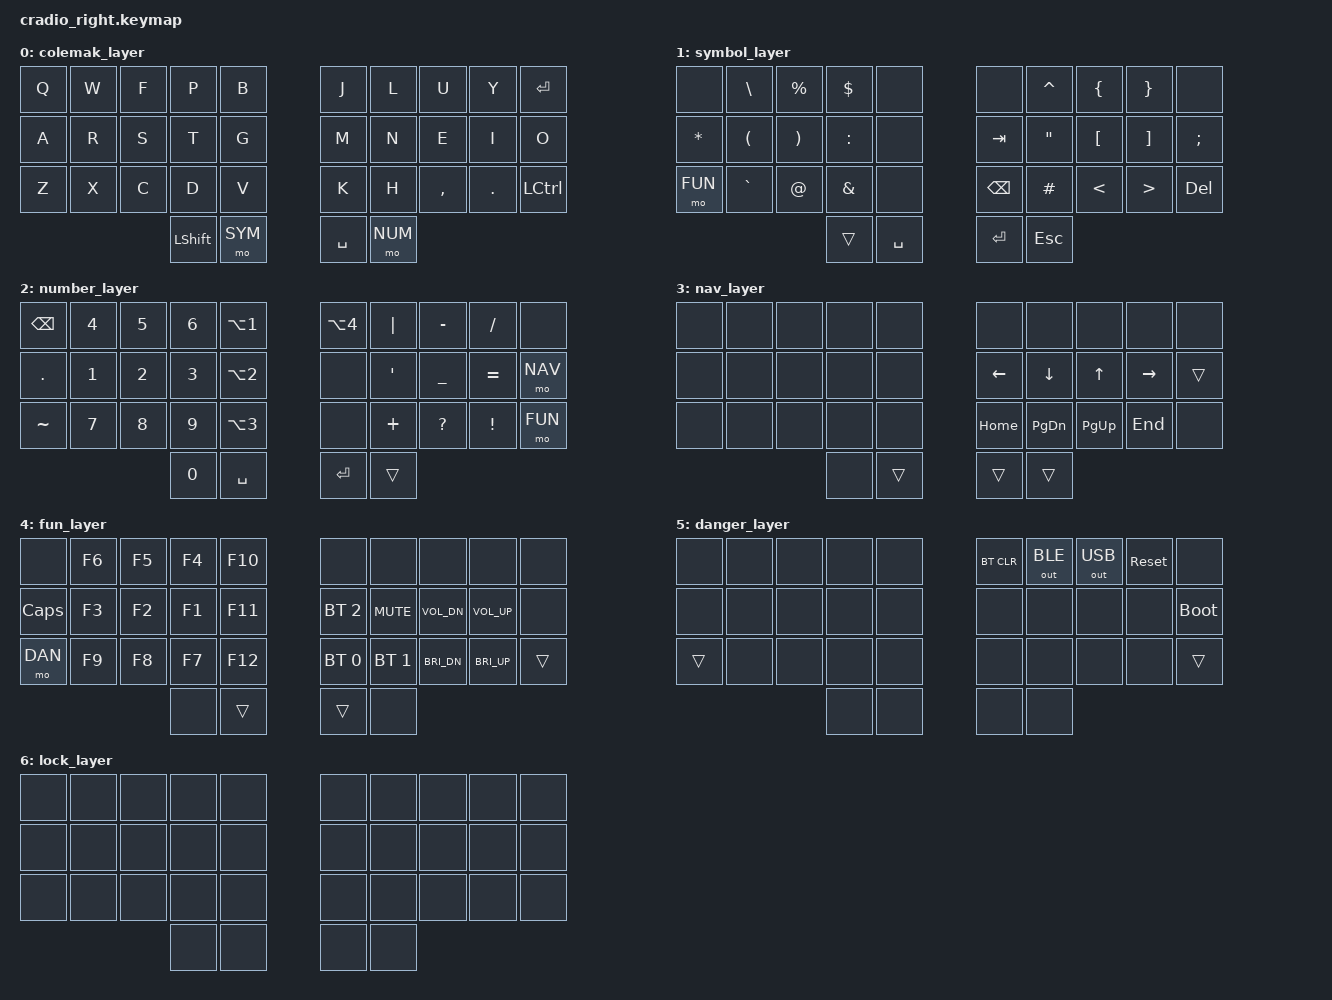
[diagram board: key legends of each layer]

/*
 * Copyright (c) 2020 The ZMK Contributors
 *
 * SSPDX-License-Identifier: MIT
 */

#include <behaviors.dtsi>
#include <dt-bindings/zmk/bt.h>
#include <dt-bindings/zmk/keys.h>
#include <dt-bindings/zmk/outputs.h>

#define CMK 0
#define SYM 1
#define NUM 2
#define NAV 3
#define FUN 4
#define DAN 5
#define LCK 6

&mt {
    flavor = "tap-preferred";
    tapping_term_ms = <285>;
};

&caps_word { continue-list = <UNDERSCORE MINUS BACKSPACE>; };

/ {
    combos {
        #include "combos.dtsi"
    };

    behaviors {
        hm: homerow_mods {
            compatible = "zmk,behavior-hold-tap";
            label = "HOMEROW_MODS";
            #binding-cells = <2>;
            tapping-term-ms = <200>;
            quick_tap_ms = <0>;
            flavor = "tap-preferred";
            bindings = <&kp>, <&kp>;
        };

        td: tapdance {
            compatible = "zmk,behavior-hold-tap";
            label = "TAPDANCE";
            #binding-cells = <2>;
            tapping-term-ms = <150>;
            quick_tap_ms = <0>;
            flavor = "tap-preferred";
            bindings = <&kp>, <&kp>;
        };

        skq: sticky_key_quick_release {
            compatible = "zmk,behavior-sticky-key";
            label = "STICKY_KEY_QUICK_RELEASE";
            #binding-cells = <1>;
            bindings = <&kp>;
            release-after-ms = <1000>;
            quick-release;
        };
    };
};




&kscan0 {
    
    input-gpios
    = <&pro_micro  7 (GPIO_ACTIVE_LOW | GPIO_PULL_UP)>
    , <&pro_micro 18 (GPIO_ACTIVE_LOW | GPIO_PULL_UP)>
    , <&gpio1      2 (GPIO_ACTIVE_LOW | GPIO_PULL_UP)>  
    , <&pro_micro 20 (GPIO_ACTIVE_LOW | GPIO_PULL_UP)>
    , <&pro_micro 21 (GPIO_ACTIVE_LOW | GPIO_PULL_UP)>
    , <&pro_micro 15 (GPIO_ACTIVE_LOW | GPIO_PULL_UP)>
    , <&pro_micro 14 (GPIO_ACTIVE_LOW | GPIO_PULL_UP)>
    , <&pro_micro 16 (GPIO_ACTIVE_LOW | GPIO_PULL_UP)>  
    , <&gpio1      7 (GPIO_ACTIVE_LOW | GPIO_PULL_UP)>
    , <&pro_micro  1 (GPIO_ACTIVE_LOW | GPIO_PULL_UP)>
    , <&pro_micro  2 (GPIO_ACTIVE_LOW | GPIO_PULL_UP)>
    , <&pro_micro  3 (GPIO_ACTIVE_LOW | GPIO_PULL_UP)>
    , <&pro_micro  4 (GPIO_ACTIVE_LOW | GPIO_PULL_UP)>
    , <&pro_micro  5 (GPIO_ACTIVE_LOW | GPIO_PULL_UP)>
    , <&pro_micro  6 (GPIO_ACTIVE_LOW | GPIO_PULL_UP)>
    , <&gpio1      1 (GPIO_ACTIVE_LOW | GPIO_PULL_UP)>
    , <&pro_micro  9 (GPIO_ACTIVE_LOW | GPIO_PULL_UP)>
    ;
};

/*           34 Keys
╭──────────────╮ ╭──────────────╮
│ 0  1  2  3  4│ │ 5  6  7  8  9│
│10 11 12 13 14│ │15 16 17 18 19│
│20 21 22 23 24│ │25 26 27 28 29│
╰────────╮30 31│ │32 33╭────────╯
         ╰─────╯ ╰─────╯         */

/ {
    keymap {
        compatible = "zmk,keymap";

                colemak_layer {
// -----------------------------------------------------------------
// |  Q  |  W  |  E  |  R  |  T  |  Y  |  U  |  I  |  O  |  P  |
// |  A  |  S  |  D  |  F  |  G  |  H  |  J  |  K  |  L  | ;  |
// |  Z  |  X  |  C  |  V  |  B  |  N  |  M  | ,  | .  | -FUN- |
//                   |-SYM-| SPC | | RET |-NUM-|  
                        bindings = <
&kp Q &kp W &kp F &kp P &kp B &kp J &kp L &kp U &kp Y &kp ENTER
&kp A &kp R &kp S &kp T &kp G &kp M &kp N &kp E &kp I &kp O
&kp Z &kp X &kp C &kp D &kp V &kp K &kp H &kp COMMA &kp DOT &kp LCTRL 
                  &kp LSHIFT &mo SYM &kp SPACE &mo NUM
                        >;
                };

                symbol_layer {
// -----------------------------------------------------------------
// |     |  \  |  %  |  $  |     | |     |  ^  |  {  |  }  |     |
// |  *  |  (  |  )  |  :  |     | | TAB |  "  |  [  |  ]  |  ;  |
// |     |  `  |  @  |  &  |     | |BKSPC|  #  |  <  |  >  |-FUN-|
//                   |_SYM_| SPC | | RET | ESC |
                        bindings = <
   &none    &kp BSLH  &kp PRCNT &kp DLLR  &none &none &kp CARET &kp LBRC &kp RBRC &none
   &kp STAR &kp LPAR  &kp RPAR  &kp COLON &none &kp TAB &kp DQT   &kp LBKT &kp RBKT &kp SEMI
   &mo FUN  &kp GRAVE &kp AT    &kp AMPS  &none &kp BACKSPACE &kp HASH &kp LT &kp GT &kp DEL
                             &trans &kp SPACE &kp RET &kp ESC
                        >;
                };

                number_layer {
// -----------------------------------------------------------------
// |     |  4  |  5  |  6  |LA(1)| |LA(4)|  |  |  -  |  /  |     |
// |  .  |  1  |  2  |  3  |LA(2)| |     |  '  |  _  |  =  |-NAV-|
// |  ~  |  7  |  8  |  9  |LA(3)| |     |  +  |  ?  |  !  |     |
//                   |  0  | SPC | | RET |_NUM_|
                        bindings = <
   &kp BSPC  &kp N4 &kp N5 &kp N6 &kp LA(1) &kp LA(4) &kp PIPE &kp MINUS &kp FSLH  &none
   &kp DOT &kp N1 &kp N2 &kp N3 &kp LA(2) &none &kp SQT  &kp UNDER &kp EQUAL &mo NAV  
   &kp TILDE  &kp N7 &kp N8 &kp N9 &kp LA(3) &none &kp PLUS &kp QMARK  &kp EXCL    &mo FUN 
                 &kp N0 &kp SPACE &kp RET  &trans
                        >;
                };
                nav_layer {
// -----------------------------------------------------------------
// |     |     |     |     |     | |     |     |     |     |     |
// |     |     |     |     |     | | LFT | DWN | U P |RIGHT|_NAV_|
// |     |     |     |     |     | | HOM |PG_DN|PG_UP| END |     |
//                   |     | SPC | | RET |_NUM_|
                        bindings = <
   &none &none &none &none &none &none    &none     &none     &none     &none 
   &none &none &none &none &none &kp LEFT &kp DOWN  &kp UP    &kp RIGHT &trans  
   &none &none &none &none &none &kp HOME &kp PG_DN &kp PG_UP &kp END   &none 
                         &none &trans &trans &trans
                        >;
                };

        fun_layer {
            // -----------------------------------------------------------------
            // |     | F 6 | F 5 | F 4 | F10 | | <!> | <!> | <!> | <!> |     |
            // |CAPSL| F 3 | F 2 | F 1 | F11 | | BT2 |VMUTE|VOLDN|VOLUP| <!> |
            // |-!!!-| F 9 | F 8 | F 7 | F12 | | BT0 | BT1 |BRIDN|BRIUP|_FUN_|
            //                   |     | SPC | | RET |     |

            bindings = <
&none     &kp F6  &kp F5  &kp F4  &kp F10    &none         &none         &none         &none         &none
&kp CAPS  &kp F3  &kp F2  &kp F1  &kp F11    &bt BT_SEL 2  &kp K_MUTE    &kp C_VOL_DN  &kp C_VOL_UP  &none
&mo DAN   &kp F9  &kp F8  &kp F7  &kp F12    &bt BT_SEL 0  &bt BT_SEL 1  &kp C_BRI_DN  &kp C_BRI_UP  &trans
                          &none   &trans     &trans        &none
            >;
        };

        danger_layer {
            // -----------------------------------------------------------------
            // |     |     |     |     |     | |BTCLR| BLE | USB |RESET|     |
            // |     |     |     |     |     | |     |     |     |     |BOOTL|
            // |_!!!_|     |     |     |     | |     |     |     |     |_FUN_|
            //                   |     |     | |     |     |
            // impactful buttons
            // Bluetooth clear, reset, chaning BLE/USB preference, bootloader

            bindings = <
&none   &none  &none  &none  &none    &bt BT_CLR  &out OUT_BLE  &out OUT_USB  &sys_reset  &none
&none   &none  &none  &none  &none    &none       &none         &none         &none       &bootloader
&trans  &none  &none  &none  &none    &none       &none         &none         &none       &trans
                      &none  &none    &none       &none
            >;
        };

        lock_layer {
            // only way out is the lock combo
            // other combos are disabled too

            bindings = <
&none  &none  &none  &none  &none    &none  &none  &none  &none  &none
&none  &none  &none  &none  &none    &none  &none  &none  &none  &none
&none  &none  &none  &none  &none    &none  &none  &none  &none  &none
                     &none  &none    &none  &none
            >;
        };
    };
};

/* /*           34 Keys */
/* ╭──────────────╮ ╭──────────────╮ */
/* │ 0  1  2  3  4│ │ 5  6  7  8  9│ */
/* │10 11 12 13 14│ │15 16 17 18 19│ */
/* │20 21 22 23 24│ │25 26 27 28 29│ */
/* ╰────────╮30 31│ │32 33╭────────╯ */
/*          ╰─────╯ ╰─────╯         */ 
/**/
/**/
/* / { */
/*         keymap { */
/*                 compatible = "zmk,keymap"; */
/*                 colemak_layer { */
/* // ----------------------------------------------------------------- */
/* // |  Q  |  W  |  E  |  R  |  T  |  Y  |  U  |  I  |  O  |  P  | */
/* // |  A  |  S  |  D  |  F  |  G  |  H  |  J  |  K  |  L  | ;  | */
/* // |  Z  |  X  |  C  |  V  |  B  |  N  |  M  | ,  | .  | -FUN- | */
/* //                   |-SYM-| SPC | | RET |-NUM-|   */
/*                         bindings = < */
/*    &kp Q &kp W &kp F &kp P &kp B &kp J &kp L &kp U &kp Y &kp ENTER */
/*    &kp A &kp R &kp S &kp T &kp G &kp M &kp N &kp E &kp I &kp O */
/*    &kp Z &kp X &kp C &kp D &kp V &kp K &kp H &kp COMMA &kp DOT &kp LCTRL  */
/*                   &kp LSHIFT &mo SYM &kp SPACE &mo NUM */
/*                         >; */
/*                 }; */
/*                 symbol_layer { */
/* // ----------------------------------------------------------------- */
/* // |     |  \  |  %  |  $  |     | |     |  ^  |  {  |  }  |     | */
/* // |  *  |  (  |  )  |  :  |     | | TAB |  "  |  [  |  ]  |  ;  | */
/* // |     |  `  |  @  |  &  |     | |BKSPC|  #  |  <  |  >  |-FUN-| */
/* //                   |_SYM_| SPC | | RET | ESC | */
/*                         bindings = < */
/*    &none    &kp BSLH  &kp PRCNT &kp DLLR  &none &none &kp CARET &kp LBRC &kp RBRC &none */
/*    &kp STAR &kp LPAR  &kp RPAR  &kp COLON &none &kp TAB &kp DQT   &kp LBKT &kp RBKT &kp SEMI */
/*    &mo FUN  &kp GRAVE &kp AT    &kp AMPS  &none &kp BACKSPACE &kp HASH &kp LT &kp GT &kp DEL */
/*                              &trans &kp SPACE &kp RET &kp ESC */
/*                         >; */
/*                 }; */
/*                 number_layer { */
/* // ----------------------------------------------------------------- */
/* // |     |  4  |  5  |  6  |LA(1)| |LA(4)|  |  |  -  |  /  |     | */
/* // |  .  |  1  |  2  |  3  |LA(2)| |     |  '  |  _  |  =  |-NAV-| */
/* // |  ~  |  7  |  8  |  9  |LA(3)| |     |  +  |  ?  |  !  |     | */
/* //                   |  0  | SPC | | RET |_NUM_| */
/*                         bindings = < */
/*    &kp BSPC  &kp N4 &kp N5 &kp N6 &kp LA(1) &kp LA(4) &kp PIPE &kp MINUS &kp FSLH  &none */
/*    &kp DOT &kp N1 &kp N2 &kp N3 &kp LA(2) &none &kp SQT  &kp UNDER &kp EQUAL &mo NAV   */
/*    &kp TILDE  &kp N7 &kp N8 &kp N9 &kp LA(3) &none &kp PLUS &kp QMARK  &kp EXCL    &mo FUN  */
/*                  &kp N0 &kp SPACE &kp RET  &trans */
/*                         >; */
/*                 }; */
/*                 nav_layer { */
/* // ----------------------------------------------------------------- */
/* // |     |     |     |     |     | |     |     |     |     |     | */
/* // |     |     |     |     |     | | LFT | DWN | U P |RIGHT|_NAV_| */
/* // |     |     |     |     |     | | HOM |PG_DN|PG_UP| END |     | */
/* //                   |     | SPC | | RET |_NUM_| */
/*                         bindings = < */
/*    &none &none &none &none &none &none    &none     &none     &none     &none  */
/*    &none &none &none &none &none &kp LEFT &kp DOWN  &kp UP    &kp RIGHT &trans   */
/*    &none &none &none &none &none &kp HOME &kp PG_DN &kp PG_UP &kp END   &none  */
/*                          &none &trans &trans &trans */
/*                         >; */
/*                 }; */
/*                 fun_layer { */
/* // ----------------------------------------------------------------- */
/* // |     | F 6 | F 5 | F 4 | F10 | | <!> | <!> | <!> | <!> |     | */
/* // |CAPSL| F 3 | F 2 | F 1 | F11 | | BT2 |VMUTE|VOLDN|VOLUP| <!> | */
/* // |-!!!-| F 9 | F 8 | F 7 | F12 | | BT0 | BT1 |BRIDN|BRIUP|_FUN_| */
/* //                   |     | SPC | | RET |     | */
/*                         bindings = < */
/*    &none &kp F6 &kp F5 &kp F4 &kp F10 &none &none &none &none &none */
/*    &kp CAPS &kp F3   &kp F2 &kp F1 &kp F11 &bt BT_SEL 2 &kp K_MUTE &kp C_VOL_DN &kp C_VOL_UP &none */
/*    &mo DAN &kp F9 &kp F8 &kp F7  &kp F12 &bt BT_SEL 0  &bt BT_SEL 1 &kp C_BRI_DN &kp C_BRI_UP &trans */
/*                          &none &trans &trans &none  */
/*                         >; */
/*                 }; */
/*                 danger_layer { */
/* // ----------------------------------------------------------------- */
/* // |     |     |     |     |     | |BTCLR| BLE | USB |RESET|     | */
/* // |     |     |     |     |     | |     |     |     |     |BOOTL| */
/* // |_!!!_|     |     |     |     | |     |     |     |     |_FUN_| */
/* //                   |     |     | |     |     | */
/*                     // impactful buttons */
/*                     // Bluetooth clear, reset, chaning BLE/USB preference, bootloader */
/*                     bindings = < */
/* &none &none &none &none &none &bt BT_CLR  &out OUT_BLE &out OUT_USB &reset &none */
/* &none &none &none &none &none &none &none &none &none &bootloader */
/* &trans &none &none &none &none &none &none &none &none &trans */
/* &none &none &none &none */
/*                     >; */
/*                 }; */
/*                 lock_layer { */
/*                     // only way out is the lock combo */
/*                     // other combos are disabled too */
/*                     bindings = < */
/* &none &none &none &none &none &none &none &none &none &none  */
/* &none &none &none &none &none &none &none &none &none &none  */
/* &none &none &none &none &none &none &none &none &none &none  */
/* &none &none &none &none  */
/*                     >; */
/*                 }; */
/*         }; */
/* }; */
/* }; */
